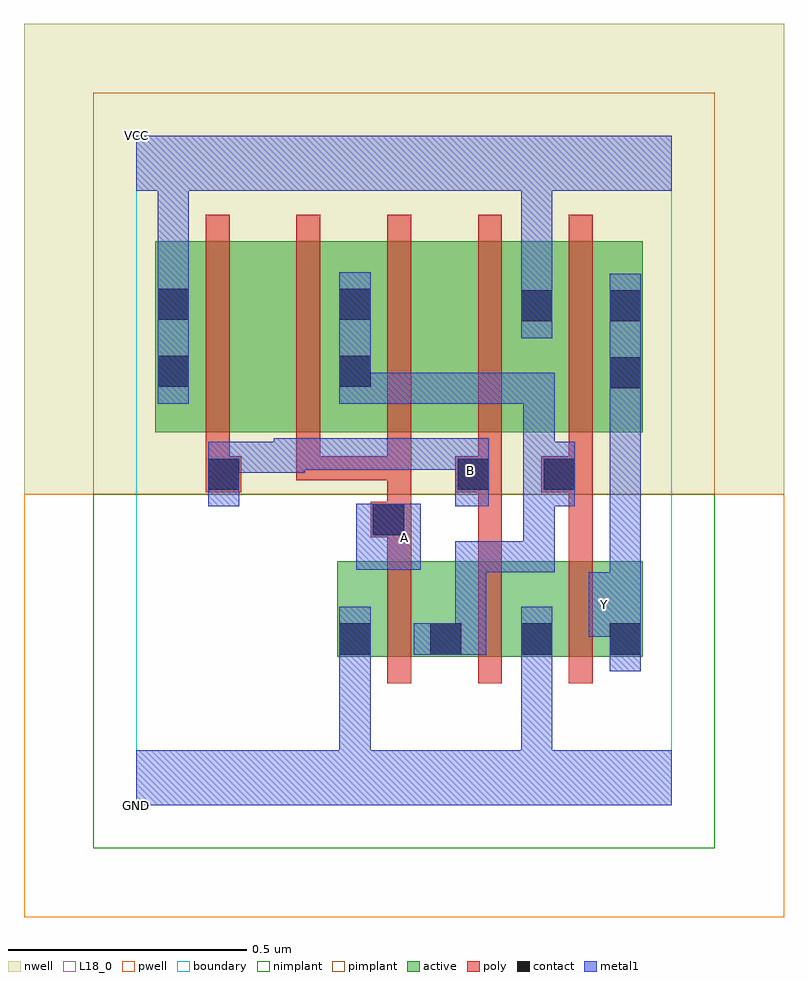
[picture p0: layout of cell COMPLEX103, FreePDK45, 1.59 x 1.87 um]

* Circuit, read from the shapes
.subckt COMPLEX103 A B GND VCC Y
M1 n1 A GND VSUBS nfet w=0.2u l=0.05u
M2 GND B n1 VSUBS nfet w=0.2u l=0.05u
M3 Y n1 GND VSUBS nfet w=0.2u l=0.05u
M4 n2 B VCC n3 pfet w=0.4u l=0.05u
M5 n1 A n2 n3 pfet w=0.4u l=0.05u
M6 n4 A n1 n3 pfet w=0.4u l=0.05u
M7 VCC B n4 n3 pfet w=0.4u l=0.05u
M8 Y n1 VCC n3 pfet w=0.4u l=0.05u
.ends

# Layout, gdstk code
import gdstk
lib = gdstk.Library(unit=1e-6, precision=1e-09)
def R(c, l, rs):  # rectangles x0, y0, x1, y1
    for r in rs: c.add(gdstk.rectangle(r[:2], r[2:], *l))
def A(c, l, x, y, w, h, nx, ny, dx, dy):  # array of equal rectangles
    R(c, l, [(x+i*dx, y+j*dy, x+i*dx+w, y+j*dy+h) for i in range(nx) for j in range(ny)])
active = (1, 0)
pwell = (2, 0)
nwell = (3, 0)
nimplant = (4, 0)
pimplant = (5, 0)
poly = (9, 0)
contact = (10, 0)
metal1 = (11, 0)
L18_0 = (18, 0)
boundary = (235, 0)

complex103 = lib.new_cell('COMPLEX103')
R(complex103, active, [(0.42,0.31,0.495,0.51), (0.42,0.31,0.685,0.51), (0.61,0.31,0.685,0.385), (0.61,0.31,0.875,0.51), (0.8,0.31,1.06,0.51), (0.8,0.31,0.875,0.385), (0.985,0.31,1.06,0.51), (0.04,0.78,0.265,1.18), (0.04,0.78,0.115,1.105), (0.265,0.78,0.495,1.18), (0.42,0.78,0.645,1.18), (0.42,0.78,0.495,1.105), (0.645,0.78,0.875,1.18), (0.8,0.78,1.06,1.18), (0.985,0.78,1.06,1.165), (0.8,0.907,0.875,1.105)])
R(complex103, pwell, [(-0.235,-0.235,1.355,0.65)])
R(complex103, nwell, [(-0.235,0.65,1.355,1.635)])
R(complex103, nimplant, [(-0.09,-0.09,1.21,0.65)])
R(complex103, pimplant, [(-0.09,0.65,1.21,1.49)])
A(complex103, poly, 0.525, 0.255, 0.05, 0.31, 3, 1, 0.19, 0)
A(complex103, poly, 0.145, 0.68, 0.05, 0.095, 5, 1, 0.19, 0)
A(complex103, poly, 0.145, 0.725, 0.05, 0.51, 5, 1, 0.19, 0)
R(complex103, poly, [(0.525,0.515,0.575,0.61), (0.715,0.515,0.765,0.705), (0.905,0.515,0.955,0.705), (0.49,0.56,0.575,0.635), (0.525,0.585,0.575,0.73), (0.145,0.655,0.22,0.73), (0.667,0.655,0.765,0.73), (0.715,0.655,0.765,0.705), (0.715,0.655,0.765,0.705), (0.847,0.655,0.955,0.73), (0.905,0.655,0.955,0.705), (0.905,0.655,0.955,0.705), (0.335,0.68,0.385,0.73), (0.335,0.68,0.575,0.73), (0.525,0.68,0.575,0.73), (0.525,0.68,0.575,0.73), (0.525,0.68,0.575,0.73)])
A(complex103, contact, 0.425, 0.315, 0.065, 0.065, 3, 1, 0.19, 0)
R(complex103, contact, [(0.99,0.315,1.055,0.38), (0.495,0.565,0.56,0.63), (0.15,0.66,0.215,0.725), (0.672,0.66,0.737,0.725), (0.852,0.66,0.917,0.725), (0.99,0.872,1.055,0.937), (0.045,0.875,0.11,0.94), (0.425,0.875,0.49,0.94), (0.805,1.012,0.87,1.077), (0.99,1.012,1.055,1.077), (0.045,1.015,0.11,1.08), (0.425,1.015,0.49,1.08)])
R(complex103, metal1, [(0,0,1.12,0.115), (0.425,0.05,0.49,0.345), (0.805,0.05,0.87,0.115), (0.805,0.05,0.87,0.115), (0.805,0.05,0.87,0.115), (0.805,0.05,0.87,0.115), (0.805,0.05,0.87,0.345), (0.425,0.28,0.49,0.345), (0.425,0.28,0.49,0.345), (0.425,0.28,0.49,0.345), (0.425,0.28,0.49,0.345), (0.425,0.28,0.49,0.415), (0.805,0.28,0.87,0.415), (0.99,0.28,1.055,0.415), (0.58,0.315,0.732,0.38), (0.667,0.315,0.732,0.552), (0.99,0.35,1.055,0.417), (0.947,0.352,1.055,0.487), (0.99,0.422,1.055,0.902), (0.99,0.422,1.055,0.487), (0.99,0.422,1.055,0.487), (0.667,0.487,0.732,0.552), (0.667,0.487,0.732,0.552), (0.667,0.487,0.732,0.552), (0.667,0.487,0.875,0.552), (0.81,0.487,0.875,0.552), (0.81,0.487,0.875,0.76), (0.46,0.492,0.595,0.63), (0.15,0.625,0.215,0.76), (0.667,0.625,0.737,0.767), (0.852,0.625,0.917,0.76), (0.15,0.695,0.215,0.76), (0.15,0.695,0.215,0.76), (0.15,0.695,0.352,0.76), (0.287,0.695,0.352,0.767), (0.81,0.695,0.875,0.76), (0.81,0.695,0.917,0.76), (0.81,0.695,0.875,0.905), (0.287,0.702,0.352,0.767), (0.287,0.702,0.352,0.767), (0.287,0.702,0.595,0.767), (0.53,0.702,0.595,0.767), (0.53,0.702,0.732,0.767), (0.667,0.702,0.732,0.767), (0.667,0.702,0.732,0.767), (0.99,0.837,1.055,1.112), (0.045,0.84,0.11,1.115), (0.425,0.84,0.49,1.115), (0.425,0.84,0.49,0.905), (0.425,0.84,0.49,0.905), (0.425,0.84,0.732,0.905), (0.667,0.84,0.732,0.905), (0.667,0.84,0.732,0.905), (0.667,0.84,0.732,0.905), (0.667,0.84,0.875,0.905), (0.81,0.84,0.875,0.905), (0.805,0.977,0.87,1.112), (0.805,1.047,0.87,1.35), (0.045,1.05,0.11,1.35), (0,1.285,1.12,1.4)])
R(complex103, L18_0, [(0,0,1.12,0.115), (0.425,0.05,0.49,0.345), (0.805,0.05,0.87,0.115), (0.805,0.05,0.87,0.115), (0.805,0.05,0.87,0.115), (0.805,0.05,0.87,0.115), (0.805,0.05,0.87,0.345), (0.425,0.28,0.49,0.415), (0.425,0.28,0.49,0.345), (0.425,0.28,0.49,0.345), (0.425,0.28,0.49,0.345), (0.425,0.28,0.49,0.345), (0.805,0.28,0.87,0.415), (0.99,0.28,1.055,0.415), (0.99,0.35,1.055,0.417), (0.947,0.352,1.055,0.487), (0.947,0.387,1.012,0.452), (0.99,0.422,1.055,0.487), (0.99,0.422,1.055,0.487), (0.99,0.422,1.055,0.902), (0.46,0.492,0.595,0.63), (0.527,0.527,0.592,0.592), (0.15,0.625,0.215,0.76), (0.667,0.625,0.737,0.767), (0.667,0.667,0.732,0.732), (0.15,0.695,0.215,0.76), (0.15,0.695,0.215,0.76), (0.15,0.695,0.352,0.76), (0.287,0.695,0.352,0.767), (0.287,0.702,0.352,0.767), (0.287,0.702,0.352,0.767), (0.287,0.702,0.595,0.767), (0.53,0.702,0.595,0.767), (0.53,0.702,0.732,0.767), (0.667,0.702,0.732,0.767), (0.667,0.702,0.732,0.767), (0.99,0.837,1.055,1.112), (0.045,0.84,0.11,1.115), (0.805,0.977,0.87,1.112), (0.805,1.047,0.87,1.35), (0.045,1.05,0.11,1.35), (0,1.285,1.12,1.4)])
R(complex103, boundary, [(0,0,1.12,1.4)])
complex103.add(gdstk.Label('A', (0.56,0.56), layer=11, texttype=0))
complex103.add(gdstk.Label('B', (0.7,0.7), layer=11, texttype=0))
complex103.add(gdstk.Label('Y', (0.98,0.42), layer=11, texttype=0))
complex103.add(gdstk.Label('VCC', (0,1.4), layer=11, texttype=0))
complex103.add(gdstk.Label('GND', (0,0), layer=11, texttype=0))

lib.write_gds('COMPLEX103.gds')
